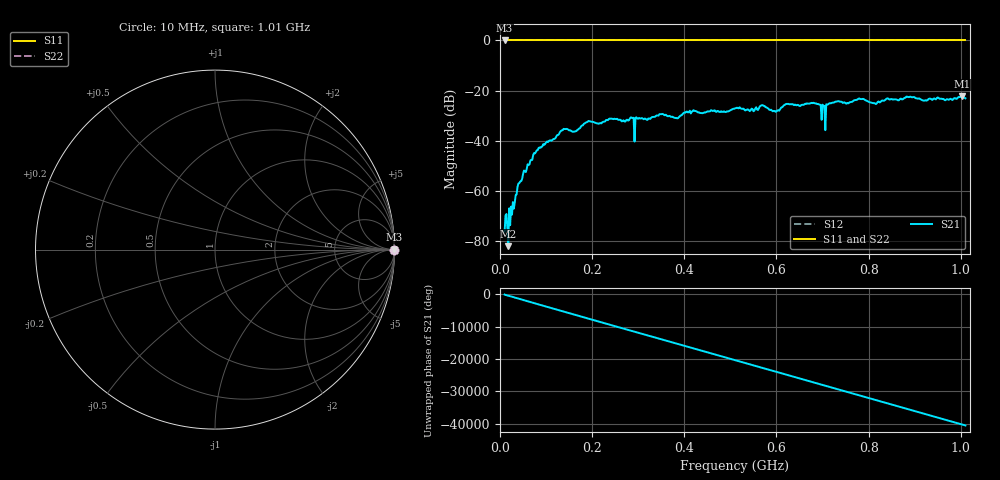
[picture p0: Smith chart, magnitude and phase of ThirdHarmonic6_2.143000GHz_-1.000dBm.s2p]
! 8/17/2025 1:35:59 AM
! C:\ANRITSUVNA\TEMP\TEMP.S2P
! CHANNEL.1
! TR.MEASUREMENT
! RAW.DATA
! RF.CORRECTION.OFF
! AVERAGING.OFF
! IF.BANDWIDTH: 5KHZ
! SWEEPTYPE:  FREQ.SWEEP(Linear)
! Reference Plane Port Info
! PORT:  PORT1  PORT2
! DISTANCE:  0  m  0  m
! TIME:  0  s  0  s
! PHASE.OFFSET:  0  deg.  0  deg.
! LOSS:  0  dB  0  dB
! REF.LOSS:  0  dB  0  dB
! REF.FREQ:  0  Hz  0  Hz
! Power Info
! POWER:  -20  dBm  -20  dBm
! EFF.POWER:  -20  dBm  -20  dBm
! SOURCE.ATTEN:  0  dB  0  dB
! TEST.ATTEN:  0  dB  0  dB
# GHZ S RI R 50.0
! FREQ.GHZ  S11RE  S11IM  S21RE  S21IM  S12RE  S12IM  S22RE  S22IM
!; PortSelection: Port_12
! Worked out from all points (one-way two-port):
!   501 points, 10 MHz to 1.01 GHz, reference 50 ohm
!   highest |S21| = -22.31 dB at 1.002 GHz (marker M1); lowest = -82.0 dB at 18 MHz (marker M2)
!   lowest |S11| = 0.0 dB at 10 MHz (marker M3)
!   |S11| at or under -10 dB: nowhere
!   |S22| runs from 0.0 to 0.0 dB; largest |S21 - S12| = 1.1
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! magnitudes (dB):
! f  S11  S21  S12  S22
! 10 MHz  0.0  -76.2  0.0  0.0
! 18 MHz  0.0  -82.0  0.0  0.0
! 42 MHz  0.0  -56.8  0.0  0.0
! 76 MHz  0.0  -45.0  0.0  0.0
! 136 MHz  0.0  -35.8  0.0  0.0
! 178 MHz  0.0  -33.9  0.0  0.0
! 240 MHz  0.0  -31.2  0.0  0.0
! 296 MHz  0.0  -30.7  0.0  0.0
! 344 MHz  0.0  -29.9  0.0  0.0
! 382 MHz  0.0  -30.9  0.0  0.0
! 510 MHz  0.0  -27.1  0.0  0.0
! 570 MHz  0.0  -25.8  0.0  0.0
! 596 MHz  0.0  -28.1  0.0  0.0
! 622 MHz  0.0  -25.3  0.0  0.0
! 678 MHz  0.0  -25.0  0.0  0.0
! 692 MHz  0.0  -25.5  0.0  0.0
! 702 MHz  0.0  -26.2  0.0  0.0
! 712 MHz  0.0  -25.5  0.0  0.0
! 732 MHz  0.0  -24.3  0.0  0.0
! 844 MHz  0.0  -23.4  0.0  0.0
! 1.002 GHz  0.0  -22.3  0.0  0.0
! 1.01 GHz  0.0  -23.1  0.0  0.0
